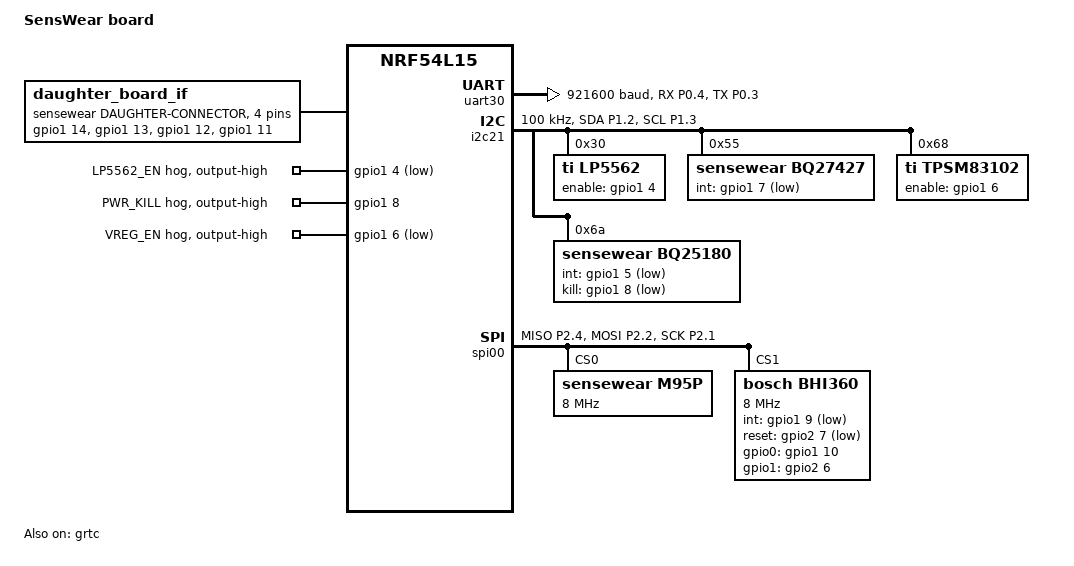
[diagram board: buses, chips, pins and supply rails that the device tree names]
/dts-v1/;
#include <nordic/nrf54l15_cpuapp.dtsi>
#include "SensWear-pinctrl.dtsi"
/*
 * Flash partitioning is defined directly in DTS below (see &cpuapp_rram) rather
 * than pulling in the vendor MCUboot partition layout
 * (vendor/nordic/nrf54l15_cpuapp_partition.dtsi). This board runs without a
 * bootloader, so the application owns flash from 0x0. Partition Manager is also
 * disabled (sysbuild.conf) so this layout is authoritative.
 */

/ {
	model = "SensWear board";
	compatible = "SenseraTechnologies,SensWear-cpuapp";

	chosen {
		zephyr,console = &uart30;
		zephyr,shell-uart = &uart30;
		zephyr,code-partition = &slot0_partition;
		zephyr,sram = &cpuapp_sram;
		zephyr,flash = &cpuapp_rram;
		zephyr,flash-controller = &rram_controller;
	};

	/*
	 * Shared system buses: ownership-locking wrappers over the Nordic
	 * controllers. Physical devices remain children of their standard Zephyr
	 * controller nodes; board drivers route transfers through these wrappers.
	 */
	sys_i2c: sys_i2c {
		compatible = "sensewear,sys-i2c";
		controller = <&i2c21>;
		status = "okay";
	};

	sys_spi: sys_spi {
		compatible = "sensewear,sys-spi";
		controller = <&spi00>;
		status = "okay";
	};

};

/*
 * Application flash layout (DTS-based, no bootloader). The 1428 KB cpuapp_rram
 * holds the application from 0x0 (slot0_partition is the chosen code-partition,
 * so the reset vector lives at 0x0 and the device boots it directly) and a
 * 36 KB storage_partition at the top for Settings/NVS. The on-device LittleFS
 * is mounted on the external M95P (a block device), so it needs no partition
 * here. Sizes are 4 KB-erase-block aligned and sum to the full 1428 KB.
 */
&cpuapp_rram {
	partitions {
		compatible = "fixed-partitions";
		#address-cells = <1>;
		#size-cells = <1>;

		slot0_partition: partition@0 {
			label = "image-0";
			reg = <0x0 DT_SIZE_K(1392)>;
		};

		storage_partition: partition@15c000 {
			label = "storage";
			reg = <0x15c000 DT_SIZE_K(36)>;
		};
	};
};

&uart30 {
	status = "okay";
	current-speed = <921600>;

	pinctrl-0 = <&uart30_default>;
	pinctrl-1 = <&uart30_sleep>;
	pinctrl-names = "default", "sleep";
};

&grtc {
	owned-channels = <0 1 2 3 4 5 6 7 8 9 10 11>;
	/*
	 * Channels 7-11 reserved for Zero Latency IRQs, 3-4 for FLPR.
	 */
	child-owned-channels = <3 4 7 8 9 10 11>;
	status = "okay";
};

&cpuapp_sram {
	status = "okay";
};

&clock {
	status = "okay";
};

&gpiote20 {
	status = "okay";
};

&gpiote30 {
	status = "okay";
};

&gpio0 {
	status = "okay";
};


&pinctrl {
	uart30_default: uart30_default {
		group1 {
			psels = <NRF_PSEL(UART_RX, 0, 4)>; /* P0.04 */
		};
		group2 {
			psels = <NRF_PSEL(UART_TX, 0, 3)>; /* P0.03 */
		};
	};

	uart30_sleep: uart30_sleep {
		group1 {
			psels = <NRF_PSEL(UART_TX, 0, 3)>,
				<NRF_PSEL(UART_RX, 0, 4)>;
		};
	};

	i2c21_default: i2c21_default {
		group1 {
			psels = <NRF_PSEL(TWIM_SDA, 1, 2)>,
				<NRF_PSEL(TWIM_SCL, 1, 3)>;
			bias-pull-up;
		};
	};

	i2c21_sleep: i2c21_sleep {
		group1 {
			psels = <NRF_PSEL(TWIM_SDA, 1, 2)>,
			<NRF_PSEL(TWIM_SCL, 1, 3)>;
			low-power-enable;
		};
	};

	spi00_default: spi00_default {
		group1 {
			psels = <NRF_PSEL(SPIM_MISO, 2, 4)>,
				<NRF_PSEL(SPIM_MOSI, 2, 2)>,
				<NRF_PSEL(SPIM_SCK, 2, 1)>;
		};
	};

	spi00_sleep: spi00_sleep {
		group1 {
			psels = <NRF_PSEL(SPIM_MISO, 2, 4)>,
				<NRF_PSEL(SPIM_MOSI, 2, 2)>,
				<NRF_PSEL(SPIM_SCK, 2, 1)>;
			low-power-enable;
		};
	};
};

/ {
	/*
	 * Daughter-board connector GPIO mapper.
	 *
	 * This is intentionally not an I2C child node. The daughter boards use
	 * the system I2C bus through their own shield nodes, while this connector
	 * node only maps and names the shared SENSOR_GPIO_0..3 lines.
	 */
	daughter_board_if: daughter-board {
		compatible = "sensewear,daughter-connector";
		#gpio-cells = <2>;
		gpio-map-mask = <0xffffffff 0xffffffc0>;
		gpio-map-pass-thru = <0 0x3f>;
		gpio-map = <0 0 &gpio1 14 0>,  /* SENSOR_GPIO_0 (P1.14) */
			   <1 0 &gpio1 13 0>,  /* SENSOR_GPIO_1 (P1.13) */
			   <2 0 &gpio1 12 0>,  /* SENSOR_GPIO_2 (P1.12) */
			   <3 0 &gpio1 11 0>;  /* SENSOR_GPIO_3 (P1.11) */
		gpio-line-names = "SENSOR_GPIO_0", "SENSOR_GPIO_1",
				  "SENSOR_GPIO_2", "SENSOR_GPIO_3";
		/*
		 * The connector's GPIO lines, in line order, aggregated by the
		 * daughter_if driver which arbitrates their ownership. Resolved
		 * through this node's own gpio-map to the physical controller.
		 */
		sensor-gpios = <&daughter_board_if 0 GPIO_ACTIVE_HIGH>,
			       <&daughter_board_if 1 GPIO_ACTIVE_HIGH>,
			       <&daughter_board_if 2 GPIO_ACTIVE_HIGH>,
			       <&daughter_board_if 3 GPIO_ACTIVE_HIGH>;
		status = "okay";
	};
};

sys_i2c_peripheral: &i2c21 {
	status = "okay";
	compatible = "nordic,nrf-twim";
	clock-frequency = <I2C_BITRATE_STANDARD>;
	pinctrl-0 = <&i2c21_default>;
	pinctrl-1 = <&i2c21_sleep>;
	pinctrl-names = "default", "sleep";

	/*
	 * LP5562 RGB LED driver.
	 */
	lp5562: lp5562@30 {
		compatible = "ti,lp5562";
		reg = <0x30>;
		enable-gpios = <&gpio1 4 GPIO_ACTIVE_HIGH>; /* P1.04 LED_EN */
		status = "okay";
	};

	/*
	 * BQ27427 fuel gauge.
	 */
	bq27427: fuel-gauge@55 {
		compatible = "sensewear,bq27427";
		reg = <0x55>;
		int-gpios = <&gpio1 7 GPIO_ACTIVE_LOW>; /* P1.07 GAUGE_IRQ */
		status = "okay";
	};

	/*
	 * TPSM83102 buck regulator generating VDD_DAUGHTER.
	 */
	tpsm83102: regulator@68 {
		compatible = "ti,tpsm83102";
		reg = <0x68>;
		enable-gpios = <&gpio1 6 GPIO_ACTIVE_HIGH>; /* P1.06 V_REG_EN */
		regulator-name = "VDD_DAUGHTER";
		regulator-min-microvolt = <1000000>;
		regulator-max-microvolt = <5500000>;
		status = "okay";
	};

	/*
	 * BQ25180 charger and power-path controller.
	 */
	bq25180: charger@6a {
		compatible = "sensewear,bq25180";
		reg = <0x6a>;
		int-gpios = <&gpio1 5 GPIO_ACTIVE_LOW>;   /* P1.05 CHG_IRQ */
		kill-gpios = <&gpio1 8 GPIO_ACTIVE_LOW>; /* P1.08 PWR_KILL */
		status = "okay";
	};
};

&gpio1 {
	status = "okay";

	/*
	 * Keep LED_EN (P1.04) low from earliest boot.
	 */
	lp5562_en_hog: lp5562_en_hog {
		gpio-hog;
		gpios = <4 GPIO_ACTIVE_LOW>;  /* P1.04 */
		output-high;
		line-name = "LP5562_EN";
	};

	/*
	 * PWR_KILL (P1.08) must be HIGH from the earliest boot so power is held on
	 * before any driver runs. The hog guarantees that power-on default; the
	 * bq25180 node also exposes the line as kill-gpios so the driver can take it
	 * over at runtime (configure it GPIO_OUTPUT_INIT_HIGH and drop this hog once
	 * the driver owns it).
	 */
	bq25180_pwr_kill_hog: bq25180_pwr_kill_hog {
		gpio-hog;
		gpios = <8 GPIO_ACTIVE_HIGH>;
		output-high;
		line-name = "PWR_KILL";
	};

	/*
	 * Keep VREG_EN (P1.06) low from earliest boot.
	 */
	tpsm83102_en_hog: tpsm83102_en_hog {
		gpio-hog;
		gpios = <6 GPIO_ACTIVE_LOW>;
		output-high;
		line-name = "VREG_EN";
	};
};

&gpio2 {
	status = "okay";
};

&uicr {
	nfct-pins-as-gpios;
};

sys_spi_peripheral: &spi00 {
	status = "okay";
	pinctrl-0 = <&spi00_default>;
	pinctrl-1 = <&spi00_sleep>;
	pinctrl-names = "default", "sleep";
	/*
	 * Chip-selects are intentionally not declared here. Each peripheral owns
	 * and drives its own CS GPIO (see its `cs-gpios` property), so the SPI
	 * controller performs no automatic chip-select management.
	 */

	/*
	 * M95P external non-volatile memory.
	 */
	m95p: eeprom@0 {
		compatible = "sensewear,m95p";
		reg = <0>;
		spi-max-frequency = <8000000>;
		cs-gpios = <&gpio2 3 GPIO_ACTIVE_LOW>; /* P2.03 M95P_CS# */
		size = <0x400000>;
		address-width = <24>;
		pagesize = <512>;
		timeout = <100>;
		status = "okay";
	};

	/*
	 * BHI360 IMU hub.
	 */
	bhi360: bhi360@1 {
		compatible = "bosch,bhi360";
		reg = <1>;
		spi-max-frequency = <8000000>;
		cs-gpios = <&gpio2 5 GPIO_ACTIVE_LOW>;      /* P2.05 BHI360_CS# */
		int-gpios = <&gpio1 9 GPIO_ACTIVE_LOW>;     /* P1.09 MPU_IRQ# */
		reset-gpios = <&gpio2 7 GPIO_ACTIVE_LOW>;   /* P2.07 MPU_RESET */
		gpio0-gpios = <&gpio1 10 GPIO_ACTIVE_HIGH>; /* P1.10 MPU_GPIO0 */
		gpio1-gpios = <&gpio2 6 GPIO_ACTIVE_HIGH>;  /* P2.06 MPU_GPIO1 */
		status = "okay";
	};
};
